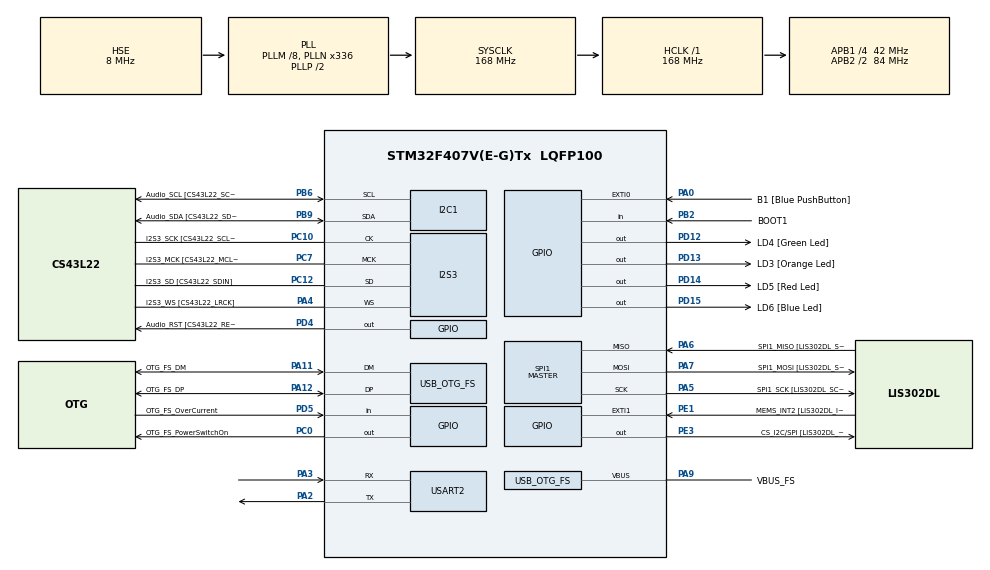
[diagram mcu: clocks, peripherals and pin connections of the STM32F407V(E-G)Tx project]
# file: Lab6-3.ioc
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FREERTOS.BinarySemaphores01=myBinarySem01,Dynamic,NULL;myBinarySem02,Dynamic,NULL
FREERTOS.Tasks01=defaultTask,0,128,StartDefaultTask,Default,NULL
I2S3.AudioFreq-Half_Duplex_Master=I2S_AUDIOFREQ_96K
I2S3.ErrorAudioFreq=-2.34 %
I2S3.ErrorAudioFreq-Half_Duplex_Master=0.8 %
I2S3.FullDuplexMode=I2S_FULLDUPLEXMODE_DISABLE
I2S3.Instance=SPI$Index
I2S3.RealAudioFreq=93.75 KHz
I2S3.RealAudioFreq-Half_Duplex_Master=96.774 KHz
I2S3.VirtualMode=I2S_MODE_MASTER
Mcu.Family=STM32F4
Mcu.Name=STM32F407V(E-G)Tx
Mcu.Package=LQFP100
NVIC.OTG_FS_IRQn=true\:5\:0\:false\:false\:true\:true\:true\:true
NVIC.PriorityGroup=NVIC_PRIORITYGROUP_4
PA0-WKUP.GPIO_Label=B1 [Blue PushButton]
PA0-WKUP.GPIO_ModeDefaultEXTI=GPIO_MODE_EVT_RISING
PA0-WKUP.GPIO_PuPd=GPIO_NOPULL
PA0-WKUP.Signal=GPXTI0
PA10.GPIO_Label=OTG_FS_ID
PA10.GPIO_Mode=GPIO_MODE_AF_PP
PA10.GPIO_PuPd=GPIO_NOPULL
PA10.GPIO_Speed=GPIO_SPEED_FREQ_LOW
PA10.Signal=USB_OTG_FS_ID
PA11.GPIO_Label=OTG_FS_DM
PA11.GPIO_Mode=GPIO_MODE_AF_PP
PA11.GPIO_PuPd=GPIO_NOPULL
PA11.GPIO_Speed=GPIO_SPEED_FREQ_LOW
PA11.Mode=Host_Only
PA11.Signal=USB_OTG_FS_DM
PA12.GPIO_Label=OTG_FS_DP
PA12.GPIO_Mode=GPIO_MODE_AF_PP
PA12.GPIO_PuPd=GPIO_NOPULL
PA12.GPIO_Speed=GPIO_SPEED_FREQ_LOW
PA12.Mode=Host_Only
PA12.Signal=USB_OTG_FS_DP
PA13.GPIO_Label=SWDIO
PA13.Mode=Serial_Wire
PA13.Signal=SYS_JTMS-SWDIO
PA14.GPIO_Label=SWCLK
PA14.Mode=Serial_Wire
PA14.Signal=SYS_JTCK-SWCLK
PA2.Mode=Asynchronous
PA2.Signal=USART2_TX
PA3.Mode=Asynchronous
PA3.Signal=USART2_RX
PA4.GPIO_Label=I2S3_WS [CS43L22_LRCK]
PA4.GPIO_Mode=GPIO_MODE_AF_PP
PA4.GPIO_PuPd=GPIO_NOPULL
PA4.GPIO_Speed=GPIO_SPEED_FREQ_LOW
PA4.Mode=Half_Duplex_Master
PA4.Signal=I2S3_WS
PA5.GPIO_Label=SPI1_SCK [LIS302DL_SCL/SPC]
PA5.GPIO_Mode=GPIO_MODE_AF_PP
PA5.GPIO_PuPd=GPIO_NOPULL
PA5.GPIO_Speed=GPIO_SPEED_FREQ_LOW
PA5.Mode=Full_Duplex_Master
PA5.Signal=SPI1_SCK
PA6.GPIO_Label=SPI1_MISO [LIS302DL_SDO]
PA6.GPIO_Mode=GPIO_MODE_AF_PP
PA6.GPIO_PuPd=GPIO_NOPULL
PA6.GPIO_Speed=GPIO_SPEED_FREQ_LOW
PA6.Mode=Full_Duplex_Master
PA6.Signal=SPI1_MISO
PA7.GPIO_Label=SPI1_MOSI [LIS302DL_SDA/SDI/SDO]
PA7.GPIO_Mode=GPIO_MODE_AF_PP
PA7.GPIO_PuPd=GPIO_NOPULL
PA7.GPIO_Speed=GPIO_SPEED_FREQ_LOW
PA7.Mode=Full_Duplex_Master
PA7.Signal=SPI1_MOSI
PA9.GPIO_Label=VBUS_FS
PA9.GPIO_Mode=GPIO_MODE_INPUT
PA9.GPIO_PuPd=GPIO_NOPULL
PA9.Mode=Activate_VBUS
PA9.Signal=USB_OTG_FS_VBUS
PB10.GPIO_Label=CLK_IN [MP45DT02_CLK]
PB10.GPIO_Mode=GPIO_MODE_AF_PP
PB10.GPIO_PuPd=GPIO_NOPULL
PB10.GPIO_Speed=GPIO_SPEED_FREQ_LOW
PB10.Signal=I2S2_CK
PB2.GPIO_Label=BOOT1
PB2.GPIO_Mode=GPIO_MODE_INPUT
PB2.GPIO_PuPd=GPIO_NOPULL
PB2.Signal=GPIO_Input
PB3.GPIO_Label=SWO
PB3.Signal=SYS_JTDO-SWO
PB6.GPIO_Label=Audio_SCL [CS43L22_SCL]
PB6.GPIO_Mode=GPIO_MODE_AF_OD
PB6.GPIO_PuPd=GPIO_NOPULL
PB6.GPIO_Speed=GPIO_SPEED_FREQ_LOW
PB6.Mode=I2C
PB6.Signal=I2C1_SCL
PB9.GPIO_Label=Audio_SDA [CS43L22_SDA]
PB9.GPIO_Mode=GPIO_MODE_AF_OD
PB9.GPIO_PuPd=GPIO_NOPULL
PB9.GPIO_Speed=GPIO_SPEED_FREQ_LOW
PB9.Mode=I2C
PB9.Signal=I2C1_SDA
PC0.GPIO_Label=OTG_FS_PowerSwitchOn
PC0.GPIO_PuPd=GPIO_NOPULL
PC0.GPIO_Speed=GPIO_SPEED_FREQ_LOW
PC0.PinState=GPIO_PIN_SET
PC0.Signal=GPIO_Output
PC10.GPIO_Label=I2S3_SCK [CS43L22_SCLK]
PC10.GPIO_Mode=GPIO_MODE_AF_PP
PC10.GPIO_PuPd=GPIO_NOPULL
PC10.GPIO_Speed=GPIO_SPEED_FREQ_LOW
PC10.Mode=Half_Duplex_Master
PC10.Signal=I2S3_CK
PC12.GPIO_Label=I2S3_SD [CS43L22_SDIN]
PC12.GPIO_Mode=GPIO_MODE_AF_PP
PC12.GPIO_PuPd=GPIO_NOPULL
PC12.GPIO_Speed=GPIO_SPEED_FREQ_LOW
PC12.Mode=Half_Duplex_Master
PC12.Signal=I2S3_SD
PC14-OSC32_IN.GPIO_Label=PC14-OSC32_IN
PC14-OSC32_IN.Mode=LSE-External-Oscillator
PC14-OSC32_IN.Signal=RCC_OSC32_IN
PC15-OSC32_OUT.GPIO_Label=PC15-OSC32_OUT
PC15-OSC32_OUT.Mode=LSE-External-Oscillator
PC15-OSC32_OUT.Signal=RCC_OSC32_OUT
PC3.GPIO_Label=PDM_OUT [MP45DT02_DOUT]
PC3.GPIO_Mode=GPIO_MODE_AF_PP
PC3.GPIO_PuPd=GPIO_NOPULL
PC3.GPIO_Speed=GPIO_SPEED_FREQ_LOW
PC3.Signal=I2S2_SD
PC7.GPIO_Label=I2S3_MCK [CS43L22_MCLK]
PC7.GPIO_Mode=GPIO_MODE_AF_PP
PC7.GPIO_PuPd=GPIO_NOPULL
PC7.GPIO_Speed=GPIO_SPEED_FREQ_LOW
PC7.Mode=Master_Clock_Activated
PC7.Signal=I2S3_MCK
PD12.GPIO_Label=LD4 [Green Led]
PD12.GPIO_PuPd=GPIO_NOPULL
PD12.GPIO_Speed=GPIO_SPEED_FREQ_LOW
PD12.Signal=GPIO_Output
PD13.GPIO_Label=LD3 [Orange Led]
PD13.GPIO_PuPd=GPIO_NOPULL
PD13.GPIO_Speed=GPIO_SPEED_FREQ_LOW
PD13.Signal=GPIO_Output
PD14.GPIO_Label=LD5 [Red Led]
PD14.GPIO_PuPd=GPIO_NOPULL
PD14.GPIO_Speed=GPIO_SPEED_FREQ_LOW
PD14.Signal=GPIO_Output
PD15.GPIO_Label=LD6 [Blue Led]
PD15.GPIO_PuPd=GPIO_NOPULL
PD15.GPIO_Speed=GPIO_SPEED_FREQ_LOW
PD15.Signal=GPIO_Output
PD4.GPIO_Label=Audio_RST [CS43L22_RESET]
PD4.GPIO_PuPd=GPIO_NOPULL
PD4.GPIO_Speed=GPIO_SPEED_FREQ_LOW
PD4.Signal=GPIO_Output
PD5.GPIO_Label=OTG_FS_OverCurrent
PD5.GPIO_Mode=GPIO_MODE_INPUT
PD5.GPIO_PuPd=GPIO_NOPULL
PD5.Signal=GPIO_Input
PE1.GPIO_Label=MEMS_INT2 [LIS302DL_INT2]
PE1.GPIO_ModeDefaultEXTI=GPIO_MODE_EVT_RISING
PE1.GPIO_PuPd=GPIO_NOPULL
PE1.Signal=GPXTI1
PE3.GPIO_Label=CS_I2C/SPI [LIS302DL_CS_I2C/SPI]
PE3.GPIO_PuPd=GPIO_NOPULL
PE3.GPIO_Speed=GPIO_SPEED_FREQ_LOW
PE3.Signal=GPIO_Output
PH0-OSC_IN.GPIO_Label=PH0-OSC_IN
PH0-OSC_IN.Mode=HSE-External-Oscillator
PH0-OSC_IN.Signal=RCC_OSC_IN
PH1-OSC_OUT.GPIO_Label=PH1-OSC_OUT
PH1-OSC_OUT.Mode=HSE-External-Oscillator
PH1-OSC_OUT.Signal=RCC_OSC_OUT
ProjectManager.HeapSize=0x200
ProjectManager.StackSize=0x400
ProjectManager.TargetToolchain=STM32CubeIDE
RCC.48MHZClocksFreq_Value=48000000
RCC.AHBFreq_Value=168000000
RCC.APB1CLKDivider=RCC_HCLK_DIV4
RCC.APB1Freq_Value=42000000
RCC.APB1TimFreq_Value=84000000
RCC.APB2CLKDivider=RCC_HCLK_DIV2
RCC.APB2Freq_Value=84000000
RCC.APB2TimFreq_Value=168000000
RCC.CortexFreq_Value=168000000
RCC.HCLKFreq_Value=168000000
RCC.HSE_VALUE=8000000
RCC.HSI_VALUE=16000000
RCC.PLLM=8
RCC.PLLN=336
RCC.PLLQ=7
RCC.SYSCLKFreq_VALUE=168000000
RCC.SYSCLKSource=RCC_SYSCLKSOURCE_PLLCLK
RCC.VCOOutputFreq_Value=336000000
SPI1.BaudRatePrescaler-Full_Duplex_Master=SPI_BAUDRATEPRESCALER_2
SPI1.CalculateBaudRate-Full_Duplex_Master=42.0 MBits/s
SPI1.Direction=SPI_DIRECTION_2LINES
SPI1.Mode=SPI_MODE_MASTER
SPI1.Mode-Full_Duplex_Master=SPI_MODE_MASTER
SPI1.VirtualType=VM_MASTER
USART2.VirtualMode=VM_ASYNC
USB_HOST.BSP.number=1
USB_HOST.USBH_HandleTypeDef-CDC_FS=hUsbHostFS
USB_HOST.USBH_USE_OS-CDC_FS=0
USB_HOST.VirtualModeFS=Cdc
USB_HOST0.BSP.STBoard=false
USB_HOST0.BSP.api=Unknown
USB_HOST0.BSP.i2caddr=0
USB_HOST0.BSP.i2creg=0
USB_HOST0.BSP.instance=PC0
USB_HOST0.BSP.ip=GPIO
USB_HOST0.BSP.mode=Output
USB_HOST0.BSP.name=Drive_VBUS_FS
USB_HOST0.BSP.solution=PC0
USB_OTG_FS.VirtualMode=Host_Only
USB_OTG_FS.phy_itface=HCD_PHY_EMBEDDED
VP_FREERTOS_VS_CMSIS_V1.Mode=CMSIS_V1
VP_USB_HOST_VS_USB_HOST_CDC_FS.Mode=CDC_FS
board=STM32F4DISCOVERY

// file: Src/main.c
/* USER CODE BEGIN Header */
/**
 ******************************************************************************
 * @file           : main.c
 * @brief          : Main program body
 ******************************************************************************
 * @attention
 *
 * <h2><center>&copy; Copyright (c) 2019 STMicroelectronics.
 * All rights reserved.</center></h2>
 *
 * This software component is licensed by ST under Ultimate Liberty license
 * SLA0044, the "License"; You may not use this file except in compliance with
 * the License. You may obtain a copy of the License at:
 *                             www.st.com/SLA0044
 *
 ******************************************************************************
 */
/* USER CODE END Header */

#include "main.h"
#include "cmsis_os.h"
#include "usb_host.h"

I2C_HandleTypeDef hi2c1;

I2S_HandleTypeDef hi2s3;

SPI_HandleTypeDef hspi1;

UART_HandleTypeDef huart2;

osThreadId defaultTaskHandle;
osMessageQId QueQHandle;

void SystemClock_Config(void);
static void MX_GPIO_Init(void);
static void MX_I2C1_Init(void);
static void MX_I2S3_Init(void);
static void MX_SPI1_Init(void);
static void MX_USART2_UART_Init(void);
void StartDefaultTask(void const * argument);

int main(void)
{

  /* MCU Configuration--------------------------------------------------------*/

  /* Reset of all peripherals, Initializes the Flash interface and the Systick. */
  HAL_Init();

  /* Configure the system clock */
  SystemClock_Config();

  /* Initialize all configured peripherals */
  MX_GPIO_Init();
  MX_I2C1_Init();
  MX_I2S3_Init();
  MX_SPI1_Init();
  MX_USART2_UART_Init();

  /* Create the queue(s) */
  /* definition and creation of QueQ */
//  osMessageQDef(QueQ, 16, uint16_t);
//  QueQHandle = osMessageCreate(osMessageQ(QueQ), NULL);

  /* Create the thread(s) */
  /* definition and creation of defaultTask */
  osThreadDef(defaultTask, StartDefaultTask, osPriorityNormal, 0, 128);
  defaultTaskHandle = osThreadCreate(osThread(defaultTask), NULL);

  /* Start scheduler */
  osKernelStart();

  /* We should never get here as control is now taken by the scheduler */

  /* Infinite loop */
	while (1) {

	}
}

void SystemClock_Config(void)
{
  RCC_OscInitTypeDef RCC_OscInitStruct = {0};
  RCC_ClkInitTypeDef RCC_ClkInitStruct = {0};
  RCC_PeriphCLKInitTypeDef PeriphClkInitStruct = {0};

  /** Configure the main internal regulator output voltage
  */
  __HAL_RCC_PWR_CLK_ENABLE();
  __HAL_PWR_VOLTAGESCALING_CONFIG(PWR_REGULATOR_VOLTAGE_SCALE1);
  /** Initializes the CPU, AHB and APB busses clocks
  */
  RCC_OscInitStruct.OscillatorType = RCC_OSCILLATORTYPE_HSE;
  RCC_OscInitStruct.HSEState = RCC_HSE_ON;
  RCC_OscInitStruct.PLL.PLLState = RCC_PLL_ON;
  RCC_OscInitStruct.PLL.PLLSource = RCC_PLLSOURCE_HSE;
  RCC_OscInitStruct.PLL.PLLM = 8;
  RCC_OscInitStruct.PLL.PLLN = 336;
  RCC_OscInitStruct.PLL.PLLP = RCC_PLLP_DIV2;
  RCC_OscInitStruct.PLL.PLLQ = 7;
  if (HAL_RCC_OscConfig(&RCC_OscInitStruct) != HAL_OK)
  {
    Error_Handler();
  }
  /** Initializes the CPU, AHB and APB busses clocks
  */
  RCC_ClkInitStruct.ClockType = RCC_CLOCKTYPE_HCLK|RCC_CLOCKTYPE_SYSCLK
                              |RCC_CLOCKTYPE_PCLK1|RCC_CLOCKTYPE_PCLK2;
  RCC_ClkInitStruct.SYSCLKSource = RCC_SYSCLKSOURCE_PLLCLK;
  RCC_ClkInitStruct.AHBCLKDivider = RCC_SYSCLK_DIV1;
  RCC_ClkInitStruct.APB1CLKDivider = RCC_HCLK_DIV4;
  RCC_ClkInitStruct.APB2CLKDivider = RCC_HCLK_DIV2;

  if (HAL_RCC_ClockConfig(&RCC_ClkInitStruct, FLASH_LATENCY_5) != HAL_OK)
  {
    Error_Handler();
  }
  PeriphClkInitStruct.PeriphClockSelection = RCC_PERIPHCLK_I2S;
  PeriphClkInitStruct.PLLI2S.PLLI2SN = 192;
  PeriphClkInitStruct.PLLI2S.PLLI2SR = 2;
  if (HAL_RCCEx_PeriphCLKConfig(&PeriphClkInitStruct) != HAL_OK)
  {
    Error_Handler();
  }
}

static void MX_I2C1_Init(void)
{

  hi2c1.Instance = I2C1;
  hi2c1.Init.ClockSpeed = 100000;
  hi2c1.Init.DutyCycle = I2C_DUTYCYCLE_2;
  hi2c1.Init.OwnAddress1 = 0;
  hi2c1.Init.AddressingMode = I2C_ADDRESSINGMODE_7BIT;
  hi2c1.Init.DualAddressMode = I2C_DUALADDRESS_DISABLE;
  hi2c1.Init.OwnAddress2 = 0;
  hi2c1.Init.GeneralCallMode = I2C_GENERALCALL_DISABLE;
  hi2c1.Init.NoStretchMode = I2C_NOSTRETCH_DISABLE;
  if (HAL_I2C_Init(&hi2c1) != HAL_OK)
  {
    Error_Handler();
  }

}

static void MX_I2S3_Init(void)
{

  hi2s3.Instance = SPI3;
  hi2s3.Init.Mode = I2S_MODE_MASTER_TX;
  hi2s3.Init.Standard = I2S_STANDARD_PHILIPS;
  hi2s3.Init.DataFormat = I2S_DATAFORMAT_16B;
  hi2s3.Init.MCLKOutput = I2S_MCLKOUTPUT_ENABLE;
  hi2s3.Init.AudioFreq = I2S_AUDIOFREQ_96K;
  hi2s3.Init.CPOL = I2S_CPOL_LOW;
  hi2s3.Init.ClockSource = I2S_CLOCK_PLL;
  hi2s3.Init.FullDuplexMode = I2S_FULLDUPLEXMODE_DISABLE;
  if (HAL_I2S_Init(&hi2s3) != HAL_OK)
  {
    Error_Handler();
  }

}

static void MX_SPI1_Init(void)
{

  /* SPI1 parameter configuration*/
  hspi1.Instance = SPI1;
  hspi1.Init.Mode = SPI_MODE_MASTER;
  hspi1.Init.Direction = SPI_DIRECTION_2LINES;
  hspi1.Init.DataSize = SPI_DATASIZE_8BIT;
  hspi1.Init.CLKPolarity = SPI_POLARITY_LOW;
  hspi1.Init.CLKPhase = SPI_PHASE_1EDGE;
  hspi1.Init.NSS = SPI_NSS_SOFT;
  hspi1.Init.BaudRatePrescaler = SPI_BAUDRATEPRESCALER_2;
  hspi1.Init.FirstBit = SPI_FIRSTBIT_MSB;
  hspi1.Init.TIMode = SPI_TIMODE_DISABLE;
  hspi1.Init.CRCCalculation = SPI_CRCCALCULATION_DISABLE;
  hspi1.Init.CRCPolynomial = 10;
  if (HAL_SPI_Init(&hspi1) != HAL_OK)
  {
    Error_Handler();
  }

}

static void MX_USART2_UART_Init(void)
{

  huart2.Instance = USART2;
  huart2.Init.BaudRate = 115200;
  huart2.Init.WordLength = UART_WORDLENGTH_8B;
  huart2.Init.StopBits = UART_STOPBITS_1;
  huart2.Init.Parity = UART_PARITY_NONE;
  huart2.Init.Mode = UART_MODE_TX_RX;
  huart2.Init.HwFlowCtl = UART_HWCONTROL_NONE;
  huart2.Init.OverSampling = UART_OVERSAMPLING_16;
  if (HAL_UART_Init(&huart2) != HAL_OK)
  {
    Error_Handler();
  }

}

static void MX_GPIO_Init(void)
{
  GPIO_InitTypeDef GPIO_InitStruct = {0};

  /* GPIO Ports Clock Enable */
  __HAL_RCC_GPIOE_CLK_ENABLE();
  __HAL_RCC_GPIOC_CLK_ENABLE();
  __HAL_RCC_GPIOH_CLK_ENABLE();
  __HAL_RCC_GPIOA_CLK_ENABLE();
  __HAL_RCC_GPIOB_CLK_ENABLE();
  __HAL_RCC_GPIOD_CLK_ENABLE();

  /*Configure GPIO pin Output Level */
  HAL_GPIO_WritePin(CS_I2C_SPI_GPIO_Port, CS_I2C_SPI_Pin, GPIO_PIN_RESET);

  /*Configure GPIO pin Output Level */
  HAL_GPIO_WritePin(OTG_FS_PowerSwitchOn_GPIO_Port, OTG_FS_PowerSwitchOn_Pin, GPIO_PIN_SET);

  /*Configure GPIO pin Output Level */
  HAL_GPIO_WritePin(GPIOD, LD4_Pin|LD3_Pin|LD5_Pin|LD6_Pin
                          |Audio_RST_Pin, GPIO_PIN_RESET);

  /*Configure GPIO pin : CS_I2C_SPI_Pin */
  GPIO_InitStruct.Pin = CS_I2C_SPI_Pin;
  GPIO_InitStruct.Mode = GPIO_MODE_OUTPUT_PP;
  GPIO_InitStruct.Pull = GPIO_NOPULL;
  GPIO_InitStruct.Speed = GPIO_SPEED_FREQ_LOW;
  HAL_GPIO_Init(CS_I2C_SPI_GPIO_Port, &GPIO_InitStruct);

  /*Configure GPIO pin : OTG_FS_PowerSwitchOn_Pin */
  GPIO_InitStruct.Pin = OTG_FS_PowerSwitchOn_Pin;
  GPIO_InitStruct.Mode = GPIO_MODE_OUTPUT_PP;
  GPIO_InitStruct.Pull = GPIO_NOPULL;
  GPIO_InitStruct.Speed = GPIO_SPEED_FREQ_LOW;
  HAL_GPIO_Init(OTG_FS_PowerSwitchOn_GPIO_Port, &GPIO_InitStruct);

  /*Configure GPIO pin : PDM_OUT_Pin */
  GPIO_InitStruct.Pin = PDM_OUT_Pin;
  GPIO_InitStruct.Mode = GPIO_MODE_AF_PP;
  GPIO_InitStruct.Pull = GPIO_NOPULL;
  GPIO_InitStruct.Speed = GPIO_SPEED_FREQ_LOW;
  GPIO_InitStruct.Alternate = GPIO_AF5_SPI2;
  HAL_GPIO_Init(PDM_OUT_GPIO_Port, &GPIO_InitStruct);

  /*Configure GPIO pin : B1_Pin */
  GPIO_InitStruct.Pin = B1_Pin;
  GPIO_InitStruct.Mode = GPIO_MODE_EVT_RISING;
  GPIO_InitStruct.Pull = GPIO_NOPULL;
  HAL_GPIO_Init(B1_GPIO_Port, &GPIO_InitStruct);

  /*Configure GPIO pin : BOOT1_Pin */
  GPIO_InitStruct.Pin = BOOT1_Pin;
  GPIO_InitStruct.Mode = GPIO_MODE_INPUT;
  GPIO_InitStruct.Pull = GPIO_NOPULL;
  HAL_GPIO_Init(BOOT1_GPIO_Port, &GPIO_InitStruct);

  /*Configure GPIO pin : CLK_IN_Pin */
  GPIO_InitStruct.Pin = CLK_IN_Pin;
  GPIO_InitStruct.Mode = GPIO_MODE_AF_PP;
  GPIO_InitStruct.Pull = GPIO_NOPULL;
  GPIO_InitStruct.Speed = GPIO_SPEED_FREQ_LOW;
  GPIO_InitStruct.Alternate = GPIO_AF5_SPI2;
  HAL_GPIO_Init(CLK_IN_GPIO_Port, &GPIO_InitStruct);

  /*Configure GPIO pins : LD4_Pin LD3_Pin LD5_Pin LD6_Pin
                           Audio_RST_Pin */
  GPIO_InitStruct.Pin = LD4_Pin|LD3_Pin|LD5_Pin|LD6_Pin
                          |Audio_RST_Pin;
  GPIO_InitStruct.Mode = GPIO_MODE_OUTPUT_PP;
  GPIO_InitStruct.Pull = GPIO_NOPULL;
  GPIO_InitStruct.Speed = GPIO_SPEED_FREQ_LOW;
  HAL_GPIO_Init(GPIOD, &GPIO_InitStruct);

  /*Configure GPIO pin : OTG_FS_OverCurrent_Pin */
  GPIO_InitStruct.Pin = OTG_FS_OverCurrent_Pin;
  GPIO_InitStruct.Mode = GPIO_MODE_INPUT;
  GPIO_InitStruct.Pull = GPIO_NOPULL;
  HAL_GPIO_Init(OTG_FS_OverCurrent_GPIO_Port, &GPIO_InitStruct);

  /*Configure GPIO pin : MEMS_INT2_Pin */
  GPIO_InitStruct.Pin = MEMS_INT2_Pin;
  GPIO_InitStruct.Mode = GPIO_MODE_EVT_RISING;
  GPIO_InitStruct.Pull = GPIO_NOPULL;
  HAL_GPIO_Init(MEMS_INT2_GPIO_Port, &GPIO_InitStruct);

}

/* USER CODE BEGIN Header_StartDefaultTask */
/**
 * @brief  Function implementing the defaultTask thread.
 * @param  argument: Not used
 * @retval None
 */

typedef struct {
	int id;
	int idx;
} message_t;

osPoolDef(mpool, 16, message_t);
osPoolId  mpool;

osMessageQId QueQ;
osMessageQDef(QueQ, 16, message_t);

void led_1(void const *args) {
	while (1) {
		HAL_GPIO_TogglePin(GPIOD, LD3_Pin);
		osDelay(25);
	}
}
void led_2(void const *args) {
	while (1) {
		HAL_GPIO_TogglePin(GPIOD, LD4_Pin);
		osDelay(9);
	}
}
void led_3(void const *args) {
	while (1) {
		HAL_GPIO_TogglePin(GPIOD, LD5_Pin);
		osDelay(64);
	}
}
void led_4(void const *args) {
	while (1) {
		HAL_GPIO_TogglePin(GPIOD, LD6_Pin);
		osDelay(32);
	}
}

void thread_0(void const *args) {
	int threadID = 0; // threadID is 0 for one thread and 1 for another
	int idx = 0;
	char buffer[32];
	while(1) {

		message_t *message = (message_t*)osPoolAlloc(mpool);
		if (message != NULL) {
		message->id = threadID;
		message->idx = idx ++;
		osMessagePut(QueQ, (uint32_t)message, osWaitForever);
		}
		osDelay(100);
	}
}

void thread_1(void const *args) {
	int threadID = 1; // threadID is 0 for one thread and 1 for another
	int idx = 0;
	char buffer[32];
	while(1) {

		message_t *message = (message_t*)osPoolAlloc(mpool);
		if (message != NULL) {
				message->id = threadID;
				message->idx = idx++;
				osMessagePut(QueQ, (uint32_t)message, osWaitForever);
		}
				osDelay(100);
	}
}

void thread_2(void const *args) {
	char buffer[32];
	while(1) {
		osEvent evt =osMessageGet(QueQ, osWaitForever);
		if(evt.status == osEventMessage){
			message_t *message = (message_t*)evt.value.p;
			int threadID = message->id;
			int idx = message->idx;

			sprintf(buffer, "TID: %d %d\r\n", threadID, idx);
			HAL_UART_Transmit(&huart2, buffer, strlen(buffer), 1000);
//			osDelay(100);
			osPoolFree(mpool, message);
		}
		osDelay(1);

	}
}
osThreadDef(led1, led_1, osPriorityNormal, 0, 128);
osThreadDef(led2, led_2, osPriorityNormal, 0, 128);
osThreadDef(led3, led_3, osPriorityNormal, 0, 128);
osThreadDef(led4, led_4, osPriorityNormal, 0, 128);

osThreadDef(thread0, thread_0, osPriorityNormal, 0, 128);
osThreadDef(thread1, thread_1, osPriorityNormal, 0, 128);
osThreadDef(thread2, thread_2, osPriorityNormal, 0, 128);

/* USER CODE END Header_StartDefaultTask */
void StartDefaultTask(void const * argument)
{

  /* init code for USB_HOST */
  MX_USB_HOST_Init();

  /* USER CODE BEGIN 5 */
	osThreadId led1Handle = osThreadCreate(osThread(led1), NULL);

	osThreadId led2Handle = osThreadCreate(osThread(led2), NULL);

	osThreadId led3Handle = osThreadCreate(osThread(led3), NULL);

	osThreadId led4Handle = osThreadCreate(osThread(led4), NULL);

	mpool = osPoolCreate(osPool(mpool));
	QueQ = osMessageCreate(osMessageQ(QueQ), NULL);

//
	osThreadId thread0Handle = osThreadCreate(osThread(thread0), NULL);

	osThreadId thread1Handle = osThreadCreate(osThread(thread1), NULL);

	osThreadId thread2Handle = osThreadCreate(osThread(thread2), NULL);

	/* Infinite loop */
	for (;;) {
		osDelay(1);
	}
  /* USER CODE END 5 */
}

void Error_Handler(void)
{
}

/************************ (C) COPYRIGHT STMicroelectronics *****END OF FILE****/
